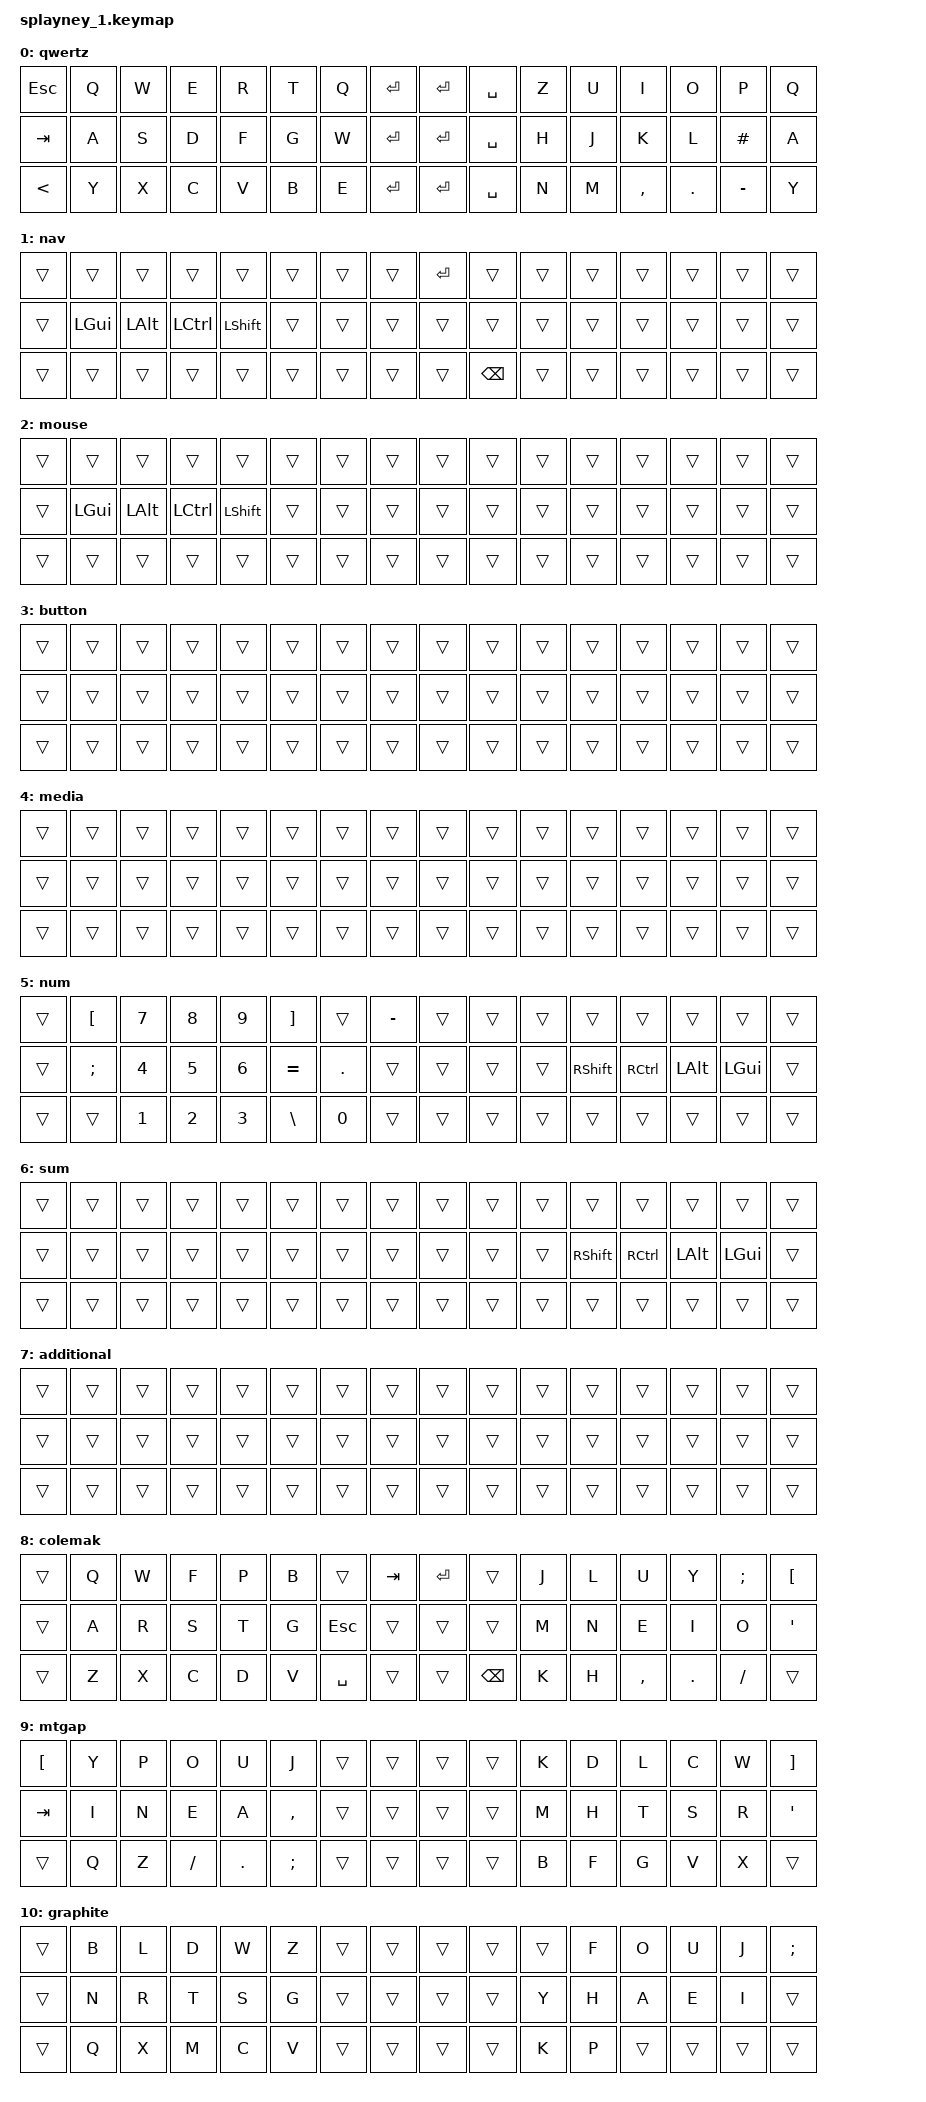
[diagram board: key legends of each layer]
#include <behaviors.dtsi>
#include <dt-bindings/zmk/bt.h>
#include <dt-bindings/zmk/keys.h>

/ {
    combos {
        compatible = "zmk,combos";

        testcombo {
            bindings = <&kp ENTER>;
            key-positions = <24 41>;
        };
    };

    keymap {
        compatible = "zmk,keymap";

        qwertz {
            bindings = <
&kp ESC  &kp Q  &kp W  &kp E  &kp R  &kp T     &kp Q    &kp ENTER  &kp ENTER  &kp SPACE  &kp Z  &kp U  &kp I      &kp O    &kp P      &kp Q
&kp TAB  &kp A  &kp S  &kp D  &kp F  &kp G     &kp W    &kp ENTER  &kp ENTER  &kp SPACE  &kp H  &kp J  &kp K      &kp L    &kp POUND  &kp A
&kp LT   &kp Y  &kp X  &kp C  &kp V  &kp B     &kp E    &kp ENTER  &kp ENTER  &kp SPACE  &kp N  &kp M  &kp COMMA  &kp DOT  &kp MINUS  &kp Y
            >;
        };

        nav {
            bindings = <
&trans  &trans    &trans    &trans     &trans     &trans  &trans  &trans  &kp ENTER  &trans    &trans  &trans  &trans  &trans  &trans  &trans
&trans  &kp LGUI  &kp LALT  &kp LCTRL  &kp LSHFT  &trans  &trans  &trans  &trans     &trans    &trans  &trans  &trans  &trans  &trans  &trans
&trans  &trans    &trans    &trans     &trans     &trans  &trans  &trans  &trans     &kp BSPC  &trans  &trans  &trans  &trans  &trans  &trans
            >;
        };

        mouse {
            bindings = <
&trans  &trans    &trans    &trans     &trans     &trans  &trans  &trans  &trans  &trans  &trans  &trans  &trans  &trans  &trans  &trans
&trans  &kp LGUI  &kp LALT  &kp LCTRL  &kp LSHFT  &trans  &trans  &trans  &trans  &trans  &trans  &trans  &trans  &trans  &trans  &trans
&trans  &trans    &trans    &trans     &trans     &trans  &trans  &trans  &trans  &trans  &trans  &trans  &trans  &trans  &trans  &trans
            >;
        };

        button {
            bindings = <
&trans  &trans  &trans  &trans  &trans  &trans  &trans  &trans  &trans  &trans  &trans  &trans  &trans  &trans  &trans  &trans
&trans  &trans  &trans  &trans  &trans  &trans  &trans  &trans  &trans  &trans  &trans  &trans  &trans  &trans  &trans  &trans
&trans  &trans  &trans  &trans  &trans  &trans  &trans  &trans  &trans  &trans  &trans  &trans  &trans  &trans  &trans  &trans
            >;
        };

        media {
            bindings = <
&trans  &trans  &trans  &trans  &trans  &trans  &trans  &trans  &trans  &trans  &trans  &trans  &trans  &trans  &trans  &trans
&trans  &trans  &trans  &trans  &trans  &trans  &trans  &trans  &trans  &trans  &trans  &trans  &trans  &trans  &trans  &trans
&trans  &trans  &trans  &trans  &trans  &trans  &trans  &trans  &trans  &trans  &trans  &trans  &trans  &trans  &trans  &trans
            >;
        };

        num {
            bindings = <
&trans  &kp LBKT  &kp N7  &kp N8  &kp N9  &kp RBKT   &trans   &kp MINUS  &trans  &trans  &trans  &trans     &trans     &trans    &trans    &trans
&trans  &kp SEMI  &kp N4  &kp N5  &kp N6  &kp EQUAL  &kp DOT  &trans     &trans  &trans  &trans  &kp RSHFT  &kp RCTRL  &kp LALT  &kp LGUI  &trans
&trans  &trans    &kp N1  &kp N2  &kp N3  &kp BSLH   &kp N0   &trans     &trans  &trans  &trans  &trans     &trans     &trans    &trans    &trans
            >;
        };

        sum {
            bindings = <
&trans  &trans  &trans  &trans  &trans  &trans  &trans  &trans  &trans  &trans  &trans  &trans     &trans     &trans    &trans    &trans
&trans  &trans  &trans  &trans  &trans  &trans  &trans  &trans  &trans  &trans  &trans  &kp RSHFT  &kp RCTRL  &kp LALT  &kp LGUI  &trans
&trans  &trans  &trans  &trans  &trans  &trans  &trans  &trans  &trans  &trans  &trans  &trans     &trans     &trans    &trans    &trans
            >;
        };

        additional {
            bindings = <
&trans  &trans  &trans  &trans  &trans  &trans  &trans  &trans  &trans  &trans  &trans  &trans  &trans  &trans  &trans  &trans
&trans  &trans  &trans  &trans  &trans  &trans  &trans  &trans  &trans  &trans  &trans  &trans  &trans  &trans  &trans  &trans
&trans  &trans  &trans  &trans  &trans  &trans  &trans  &trans  &trans  &trans  &trans  &trans  &trans  &trans  &trans  &trans
            >;
        };

        colemak {
            bindings = <
&trans  &kp Q  &kp W  &kp F  &kp P  &kp B  &trans     &kp TAB  &kp ENTER  &trans    &kp J  &kp L  &kp U      &kp Y    &kp SEMI  &kp LBKT
&trans  &kp A  &kp R  &kp S  &kp T  &kp G  &kp ESC    &trans   &trans     &trans    &kp M  &kp N  &kp E      &kp I    &kp O     &kp APOS
&trans  &kp Z  &kp X  &kp C  &kp D  &kp V  &kp SPACE  &trans   &trans     &kp BSPC  &kp K  &kp H  &kp COMMA  &kp DOT  &kp FSLH  &trans
            >;
        };

        mtgap {
            bindings = <
&kp LBKT  &kp Y  &kp P  &kp O     &kp U    &kp J      &trans  &trans  &trans  &trans  &kp K  &kp D  &kp L  &kp C  &kp W  &kp RBKT
&kp TAB   &kp I  &kp N  &kp E     &kp A    &kp COMMA  &trans  &trans  &trans  &trans  &kp M  &kp H  &kp T  &kp S  &kp R  &kp APOS
&trans    &kp Q  &kp Z  &kp FSLH  &kp DOT  &kp SEMI   &trans  &trans  &trans  &trans  &kp B  &kp F  &kp G  &kp V  &kp X  &trans
            >;
        };

        graphite {
            bindings = <
&trans  &kp B  &kp L  &kp D  &kp W  &kp Z  &trans  &trans  &trans  &trans  &trans  &kp F  &kp O   &kp U   &kp J   &kp SEMI
&trans  &kp N  &kp R  &kp T  &kp S  &kp G  &trans  &trans  &trans  &trans  &kp Y   &kp H  &kp A   &kp E   &kp I   &trans
&trans  &kp Q  &kp X  &kp M  &kp C  &kp V  &trans  &trans  &trans  &trans  &kp K   &kp P  &trans  &trans  &trans  &trans
            >;
        };
    };
};
